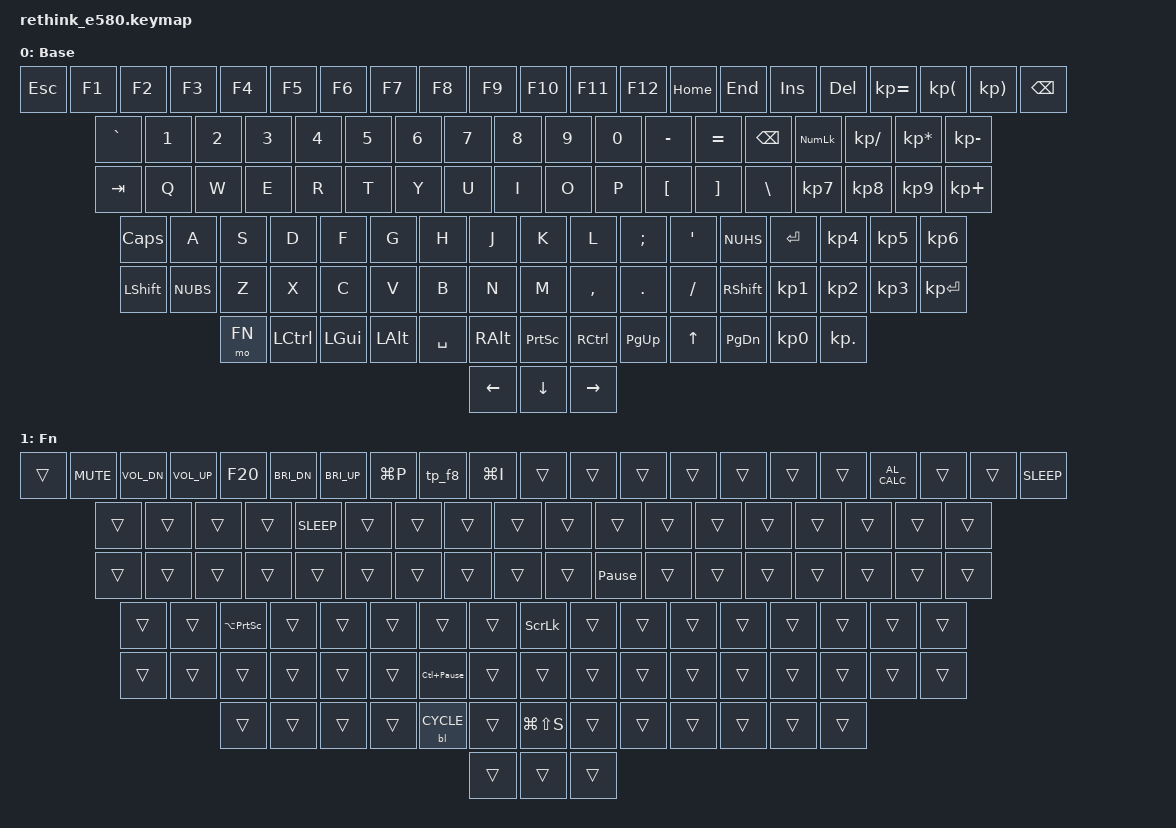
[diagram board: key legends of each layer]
/*
 * Copyright (c) 2026 Ziemniaczenka
 * SPDX-License-Identifier: MIT
 *
 * ThinkPad E580 with numpad, US ANSI or ISO. Each key sends the standard key
 * code of its position; the host's layout gives the legends. The comments
 * name the keys by their UK ISO legends: ` left of 1, "\ ANSI" the ANSI
 * keyboard's \ above Enter (BSLH), "# ISO" and "\ ISO" the ISO keyboard's
 * keys left of Enter (NUHS) and right of LShift (NUBS).
 *
 * The numpad sends keypad codes, so the host's Num Lock picks digits or
 * navigation, and the Num Lock LED shows it. Its top row: keypad =, ( and )
 * (KP_LPAR, KP_RPAR: Linux and Android take them, Windows ignores them) and
 * Backspace.
 *
 * F1-F12 send F1-F12. Fn does what the keycaps show where a standard key
 * code exists: mute, volume down/up, mic mute (F20, which Linux treats as mic
 * mute), brightness down/up, display (Win+P) and settings (Win+I) on F1-F9,
 * and the ThinkPad's sleep on 4, ScrLk on K, Pause on P, Break on B, SysRq
 * on S, the snipping tool (Win+Shift+S) on PrtSc. Fn lock (Fn+Esc and its
 * LED), Bluetooth, keyboard settings and the star key are left out for
 * now. Fn+Space cycles the backlight: low, high, off.
 * On the numpad, Fn+= opens the calculator and Fn+Backspace sleeps, as their
 * keycaps show.
 *
 * Fn+F8 (airplane mode on the keycap, which has no key code) switches the
 * TrackPoint on and off; Ctrl+Fn+F8 recalibrates it, with the hands off the
 * stick; Shift+Fn+F8 switches scrolling with the middle button held on and
 * off (off: a plain middle button, for programs that pan with it), kept in
 * flash. The T480's and E580's sticks have no press-to-select (clicking by
 * pressing the stick), so Alt+Fn+F8 isn't bound to it.
 */

#include <behaviors.dtsi>
#include <dt-bindings/zmk/backlight.h>
#include <dt-bindings/zmk/keys.h>
#include <dt-bindings/rethink/trackpoint.h>

#define FN 1

/ {
    behaviors {
        // Fn+F8: TrackPoint on/off; with Ctrl: recalibrate; with Shift:
        // middle-button scrolling on/off. No press-to-select: this
        // generation's sticks lack it
        tp_f8: tp_f8 {
            compatible = "zmk,behavior-mod-morph";
            #binding-cells = <0>;
            bindings = <&tp_f8_ctrl>, <&tp TP_SCROLL_TOG>;
            mods = <(MOD_LSFT|MOD_RSFT)>;
        };
        tp_f8_ctrl: tp_f8_ctrl {
            compatible = "zmk,behavior-mod-morph";
            #binding-cells = <0>;
            bindings = <&tp TP_TOG>, <&tp TP_RECAL>;
            mods = <(MOD_LCTL|MOD_RCTL)>;
        };
    };

    keymap {
        compatible = "zmk,keymap";

        base_layer {
            display-name = "Base";
            bindings = <
                // Esc      F1      F2      F3      F4      F5      F6      F7      F8      F9      F10      F11      F12      Home      End      Insert   Delete   KP =          KP (         KP )         KP Bksp
                   &kp ESC  &kp F1  &kp F2  &kp F3  &kp F4  &kp F5  &kp F6  &kp F7  &kp F8  &kp F9  &kp F10  &kp F11  &kp F12  &kp HOME  &kp END  &kp INS  &kp DEL  &kp KP_EQUAL  &kp KP_LPAR  &kp KP_RPAR  &kp BSPC
                // `          1       2       3       4       5       6       7       8       9       0       -          =          Bksp      NmLk            KP /           KP *             KP -
                   &kp GRAVE  &kp N1  &kp N2  &kp N3  &kp N4  &kp N5  &kp N6  &kp N7  &kp N8  &kp N9  &kp N0  &kp MINUS  &kp EQUAL  &kp BSPC  &kp KP_NUMLOCK  &kp KP_DIVIDE  &kp KP_MULTIPLY  &kp KP_MINUS
                // Tab      Q      W      E      R      T      Y      U      I      O      P      [         ]         \ ANSI    KP 7       KP 8       KP 9       KP +
                   &kp TAB  &kp Q  &kp W  &kp E  &kp R  &kp T  &kp Y  &kp U  &kp I  &kp O  &kp P  &kp LBKT  &kp RBKT  &kp BSLH  &kp KP_N7  &kp KP_N8  &kp KP_N9  &kp KP_PLUS
                // Caps      A      S      D      F      G      H      J      K      L      ;         '        # ISO     Enter    KP 4       KP 5       KP 6
                   &kp CAPS  &kp A  &kp S  &kp D  &kp F  &kp G  &kp H  &kp J  &kp K  &kp L  &kp SEMI  &kp SQT  &kp NUHS  &kp RET  &kp KP_N4  &kp KP_N5  &kp KP_N6
                // LShift     \ ISO     Z      X      C      V      B      N      M      ,          .        /         RShift     KP 1       KP 2       KP 3       KP Enter
                   &kp LSHFT  &kp NUBS  &kp Z  &kp X  &kp C  &kp V  &kp B  &kp N  &kp M  &kp COMMA  &kp DOT  &kp FSLH  &kp RSHFT  &kp KP_N1  &kp KP_N2  &kp KP_N3  &kp KP_ENTER
                // Fn      LCtrl      Win       LAlt      Space      AltGr     PrtSc      RCtrl      PgUp       Up      PgDn       KP 0       KP .
                   &mo FN  &kp LCTRL  &kp LGUI  &kp LALT  &kp SPACE  &kp RALT  &kp PSCRN  &kp RCTRL  &kp PG_UP  &kp UP  &kp PG_DN  &kp KP_N0  &kp KP_DOT
                // Left      Down      Right
                   &kp LEFT  &kp DOWN  &kp RIGHT
            >;
        };

        fn_layer {
            display-name = "Fn";
            bindings = <
                // Esc     F1          F2            F3            F4       F5            F6            F7         F8      F9         F10     F11     F12     Home    End     Insert  Delete  KP =           KP (    KP )    KP Bksp
                   &trans  &kp C_MUTE  &kp C_VOL_DN  &kp C_VOL_UP  &kp F20  &kp C_BRI_DN  &kp C_BRI_UP  &kp LG(P)  &tp_f8  &kp LG(I)  &trans  &trans  &trans  &trans  &trans  &trans  &trans  &kp C_AL_CALC  &trans  &trans  &kp C_SLEEP
                // `       1       2       3       4            5       6       7       8       9       0       -       =       Bksp    NmLk    KP /    KP *    KP -
                   &trans  &trans  &trans  &trans  &kp C_SLEEP  &trans  &trans  &trans  &trans  &trans  &trans  &trans  &trans  &trans  &trans  &trans  &trans  &trans
                // Tab     Q       W       E       R       T       Y       U       I       O       P                [       ]       \ ANSI  KP 7    KP 8    KP 9    KP +
                   &trans  &trans  &trans  &trans  &trans  &trans  &trans  &trans  &trans  &trans  &kp PAUSE_BREAK  &trans  &trans  &trans  &trans  &trans  &trans  &trans
                // Caps    A       S              D       F       G       H       J       K         L       ;       '       # ISO   Enter   KP 4    KP 5    KP 6
                   &trans  &trans  &kp LA(PSCRN)  &trans  &trans  &trans  &trans  &trans  &kp SLCK  &trans  &trans  &trans  &trans  &trans  &trans  &trans  &trans
                // LShift  \ ISO   Z       X       C       V       B                    N       M       ,       .       /       RShift  KP 1    KP 2    KP 3    KP Enter
                   &trans  &trans  &trans  &trans  &trans  &trans  &kp LC(PAUSE_BREAK)  &trans  &trans  &trans  &trans  &trans  &trans  &trans  &trans  &trans  &trans
                // Fn      LCtrl   Win     LAlt    Space         AltGr   PrtSc          RCtrl   PgUp    Up      PgDn    KP 0    KP .
                   &trans  &trans  &trans  &trans  &bl BL_CYCLE  &trans  &kp LG(LS(S))  &trans  &trans  &trans  &trans  &trans  &trans
                // Left    Down    Right
                   &trans  &trans  &trans
            >;
        };
    };
};
